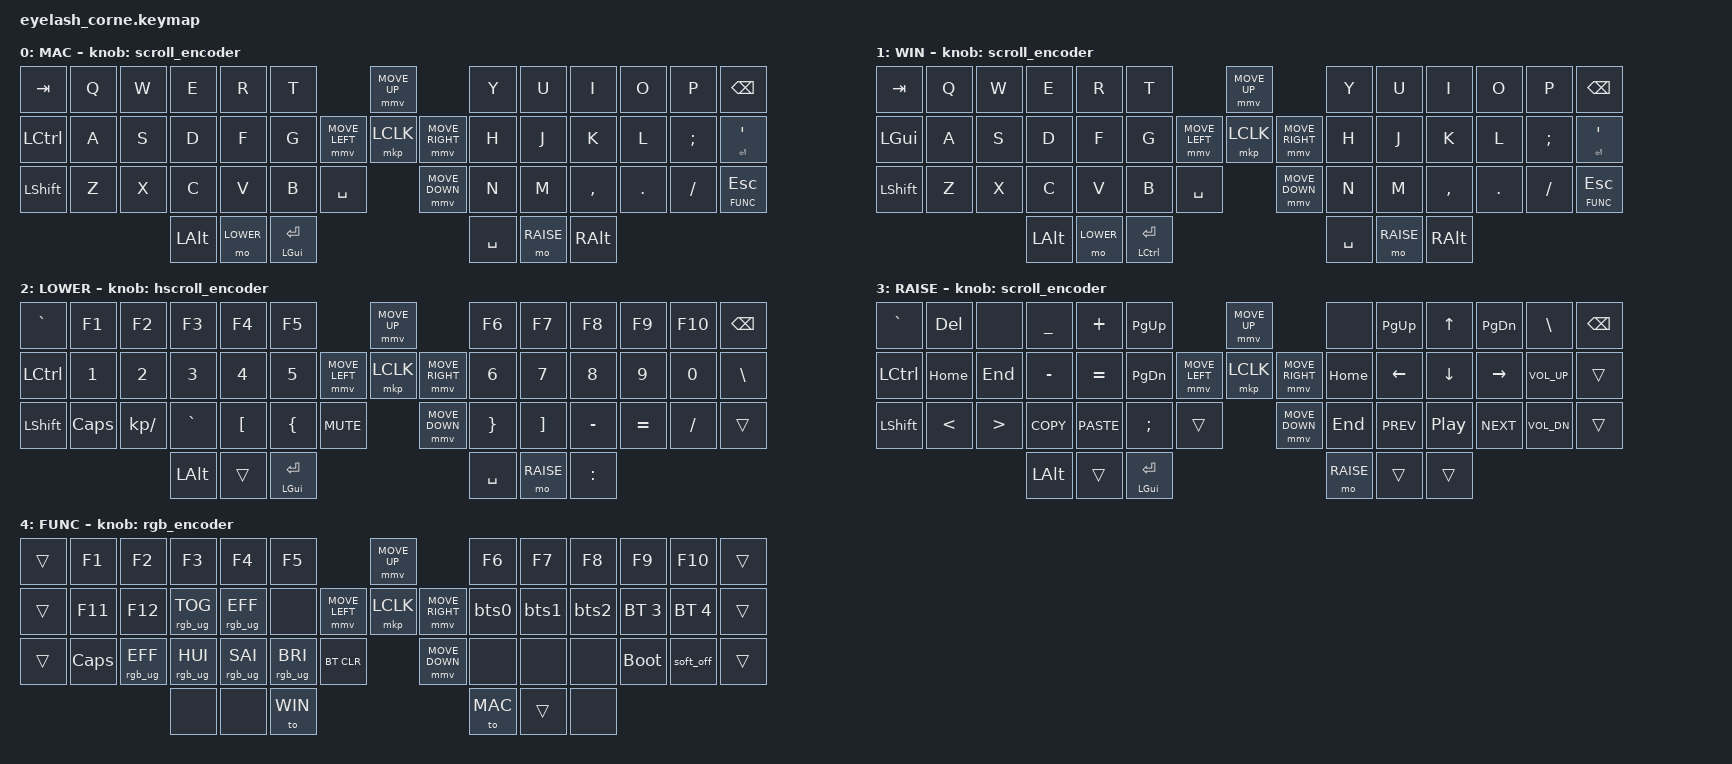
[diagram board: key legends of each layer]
#define ZMK_POINTING_DEFAULT_MOVE_VAL 1200  // 600
#define ZMK_POINTING_DEFAULT_SCRL_VAL 25    // 10

#include <input/processors.dtsi>
#include <zephyr/dt-bindings/input/input-event-codes.h>
#include <behaviors.dtsi>
#include <dt-bindings/zmk/bt.h>
#include <dt-bindings/zmk/keys.h>
#include <dt-bindings/zmk/outputs.h>
#include <dt-bindings/zmk/pointing.h>
#include <dt-bindings/zmk/rgb.h>

&mmv_input_listener { input-processors = <&zip_xy_scaler 2 1>; };

&msc_input_listener { input-processors = <&zip_scroll_scaler 2 1>; };

&msc {
    acceleration-exponent = <1>;      // 0
    time-to-max-speed-ms = <100>;     // 300
    delay-ms = <0>;                   // 0
};

&mmv {
    time-to-max-speed-ms = <500>;
    acceleration-exponent = <1>;
    trigger-period-ms = <16>;
};

&soft_off { hold-time-ms = <2000>; };

#define MAC 0
#define WIN 1
#define LOWER 2
#define RAISE 3
#define FUNC 4

/ {
    macros {
        bts0: bts0 {
            compatible = "zmk,behavior-macro";
            #binding-cells = <0>;
            bindings = <&bt BT_SEL 0>, <&to MAC>;
        };
        bts1: bts1 {
            compatible = "zmk,behavior-macro";
            #binding-cells = <0>;
            bindings = <&bt BT_SEL 1>, <&to WIN>;
        };
        bts2: bts2 {
            compatible = "zmk,behavior-macro";
            #binding-cells = <0>;
            bindings = <&bt BT_SEL 2>, <&to MAC>;
        };
    };

    behaviors {
        td0: td0 {
            compatible = "zmk,behavior-tap-dance";
            display-name = "Shift/Caps Lock Tap Dance";
            #binding-cells = <0>;
            bindings = <&kp LEFT_SHIFT>, <&kp CAPS>;
        };

        rgb_encoder: rgb_encoder {
            compatible = "zmk,behavior-sensor-rotate";
            #sensor-binding-cells = <0>;
            bindings = <&rgb_ug RGB_BRI>, <&rgb_ug RGB_BRD>;
        };

        scroll_encoder: scroll_encoder {
            compatible = "zmk,behavior-sensor-rotate";
            #sensor-binding-cells = <0>;
            bindings = <&msc SCRL_DOWN>, <&msc SCRL_UP>;

            tap-ms = <100>;
        };

        hscroll_encoder: hscroll_encoder {
            compatible = "zmk,behavior-sensor-rotate";
            #sensor-binding-cells = <0>;
            bindings = <&msc SCRL_LEFT>, <&msc SCRL_RIGHT>;
            tap-ms = <100>;
        };

        zoom_encoder: zoom_encoder {
            compatible = "zmk,behavior-sensor-rotate";
            #sensor-binding-cells = <0>;
            bindings = <&kp LA(LG(MINUS))>, <&kp LA(LG(EQUAL))>;
            tap-ms = <20>;
        };

        zoom_win_encoder: zoom_win_encoder {
            compatible = "zmk,behavior-sensor-rotate";
            #sensor-binding-cells = <0>;
            bindings = <&kp LC(MINUS)>, <&kp LC(EQUAL)>;
            tap-ms = <100>;
        };

        hm: homerow_mods {
            compatible = "zmk,behavior-hold-tap";
            #binding-cells = <2>;
            tapping-term-ms = <150>;
            quick-tap-ms = <150>;
            require-prior-idle-ms = <150>;
            flavor = "balanced";
            bindings = <&kp>, <&kp>;
        };

        lt_c: layer_tap_custom {
            compatible = "zmk,behavior-hold-tap";
            #binding-cells = <2>;
            tapping-term-ms = <125>;
            quick-tap-ms = <0>;
            flavor = "tap-preferred";
            bindings = <&mo>, <&kp>;
        };
    };

    combos {
        compatible = "zmk,combos";

        softoff {
            bindings = <&soft_off>;
            key-positions = <1 15 29>;
        };

        combo_esc {
            timeout-ms = <50>;
            key-positions = <1 2>; 
            bindings = <&kp ESC>;
        };
        
        combo_semi {
            timeout-ms = <50>;
            key-positions = <38 39>; // ,(38) + .(39) = ;
            bindings = <&kp SEMI>;
        };
    };

    keymap {
        compatible = "zmk,keymap";

        mac_layer {
            display-name = "MAC";
            bindings = <
&kp TAB    &kp Q       &kp W       &kp E       &kp R       &kp T                             &mmv MOVE_UP                     &kp Y        &kp U       &kp I       &kp O       &kp P        &kp BSPC
&kp LCTRL   &kp A       &kp S       &kp D       &kp F       &kp G                   &mmv MOVE_LEFT  &mkp LCLK  &mmv MOVE_RIGHT &kp H        &kp J       &kp K       &kp L       &kp SEMI     &hm RET SQT
&kp LSHFT  &kp Z       &kp X       &kp C       &kp V       &kp B      &kp SPACE              &mmv MOVE_DOWN                   &kp N        &kp M       &kp COMMA   &kp DOT     &kp FSLH     &lt_c FUNC ESC
                                   &kp LALT    &mo LOWER   &hm LGUI RET                                                       &kp SPACE   &mo RAISE   &kp RALT
            >;
            sensor-bindings = <&scroll_encoder>;
        };

        win_layer {
            display-name = "WIN";
            bindings = <
&kp TAB    &kp Q       &kp W       &kp E       &kp R       &kp T                             &mmv MOVE_UP                     &kp Y        &kp U       &kp I       &kp O       &kp P        &kp BSPC
&kp LGUI   &kp A       &kp S       &kp D       &kp F       &kp G                   &mmv MOVE_LEFT  &mkp LCLK  &mmv MOVE_RIGHT &kp H        &kp J       &kp K       &kp L       &kp SEMI     &hm RET SQT
&kp LSHFT  &kp Z       &kp X       &kp C       &kp V       &kp B      &kp SPACE              &mmv MOVE_DOWN                   &kp N        &kp M       &kp COMMA   &kp DOT     &kp FSLH     &lt_c FUNC ESC
                                   &kp LALT    &mo LOWER   &hm LCTRL RET                                                      &kp SPACE   &mo RAISE   &kp RALT
            >;
            sensor-bindings = <&scroll_encoder>;
        };

        lower_layer {
            display-name = "LOWER";
            bindings = <
&kp GRAVE  &kp F1      &kp F2      &kp F3      &kp F4      &kp F5                            &mmv MOVE_UP                     &kp F6       &kp F7       &kp F8      &kp F9     &kp F10      &kp BSPC
&kp LCTRL   &kp N1      &kp N2      &kp N3      &kp N4      &kp N5            &mmv MOVE_LEFT  &mkp LCLK       &mmv MOVE_RIGHT  &kp N6       &kp N7       &kp N8      &kp N9     &kp N0       &kp BSLH
&kp LSHFT  &kp CAPS    &kp KP_SLASH &kp GRAVE  &kp LBKT    &kp LBRC   &kp C_MUTE             &mmv MOVE_DOWN                   &kp RBRC     &kp RBKT     &kp MINUS   &kp EQUAL  &kp FSLH     &trans
                       &kp LALT    &trans      &hm LGUI RET                                                       &kp SPACE    &mo RAISE   &kp COLON
            >;
            sensor-bindings = <&hscroll_encoder>;
        };

        raise_layer {
            display-name = "RAISE";
            bindings = <
&kp GRAVE  &kp DEL     &none       &kp UNDER   &kp PLUS    &kp PG_UP                         &mmv MOVE_UP                     &none        &kp PG_UP    &kp UP      &kp PG_DN  &kp BSLH     &kp BSPC
&kp LCTRL   &kp HOME    &kp END     &kp MINUS   &kp EQUAL   &kp PG_DN         &mmv MOVE_LEFT  &mkp LCLK       &mmv MOVE_RIGHT  &kp HOME     &kp LEFT     &kp DOWN    &kp RIGHT  &kp C_VOL_UP &trans
&kp LSHFT  &kp LT      &kp GT      &kp K_COPY  &kp K_PASTE &kp SEMI   &trans                 &mmv MOVE_DOWN                   &kp END      &kp C_PREV   &kp C_PP    &kp C_NEXT &kp C_VOL_DN &trans
                       &kp LALT    &trans      &hm LGUI RET                                                       &mo RAISE    &trans      &trans
            >;
            sensor-bindings = <&scroll_encoder>;
        };

        func_layer {
            display-name = "FUNC";
            bindings = <
&trans     &kp F1      &kp F2      &kp F3      &kp F4      &kp F5                            &mmv MOVE_UP                     &kp F6       &kp F7       &kp F8      &kp F9     &kp F10      &trans
&trans     &kp F11     &kp F12     &rgb_ug RGB_TOG &rgb_ug RGB_EFF &none     &mmv MOVE_LEFT  &mkp LCLK       &mmv MOVE_RIGHT  &bts0        &bts1        &bts2        &bt BT_SEL 3 &bt BT_SEL 4 &trans
&trans     &kp CAPS    &rgb_ug RGB_EFF &rgb_ug RGB_HUI &rgb_ug RGB_SAI &rgb_ug RGB_BRI &bt BT_CLR &mmv MOVE_DOWN              &none        &none        &none       &bootloader &soft_off    &trans
                       &none       &none       &to WIN                                                             &to MAC      &trans      &none
            >;
            sensor-bindings = <&rgb_encoder>;
        };
    };
};
